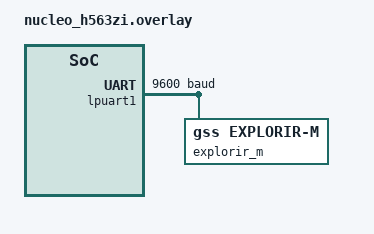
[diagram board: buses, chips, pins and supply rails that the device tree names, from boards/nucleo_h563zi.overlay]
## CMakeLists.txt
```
# SPDX-License-Identifier: Apache-2.0

cmake_minimum_required(VERSION 3.28.0)
find_package(Zephyr REQUIRED HINTS $ENV{ZEPHYR_BASE})
project(co2_polling)

target_sources(app PRIVATE src/main.c)
```

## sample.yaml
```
sample:
  name: CO2 sensor sample
tests:
  sample.sensor.co2:
    harness: sensor
    tags: sensors
    filter: dt_alias_exists("co2")
    depends_on:
      - serial
      - uart_interrupt_driven
```

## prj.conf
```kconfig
CONFIG_STDOUT_CONSOLE=y
CONFIG_LOG=y
CONFIG_SHELL=y
CONFIG_SENSOR_SHELL=y
CONFIG_SERIAL=y
CONFIG_SENSOR=y
CONFIG_SENSOR_LOG_LEVEL_DBG=y
```

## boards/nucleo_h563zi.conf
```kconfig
# SPDX-FileCopyrightText: Copyright The Zephyr Project Contributors
# SPDX-License-Identifier: Apache-2.0

CONFIG_UART_INTERRUPT_DRIVEN=y
```

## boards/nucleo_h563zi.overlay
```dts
/*
 * SPDX-FileCopyrightText: Copyright The Zephyr Project Contributors
 * SPDX-License-Identifier: Apache-2.0
 */

/ {
	aliases {
		co2 = &explorir_m;
	};
};

&lpuart1 {
	current-speed = <9600>;
	status = "okay";

	explorir_m: explorir_m {
		compatible = "gss,explorir-m";
		status = "okay";
	};
};
```

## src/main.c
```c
/*
 * Copyright (c) 2025 Prevas A/S
 *
 * SPDX-License-Identifier: Apache-2.0
 */

#include <zephyr/kernel.h>
#include <zephyr/drivers/sensor.h>
#include <zephyr/logging/log.h>

LOG_MODULE_REGISTER(MAIN);

int main(void)
{
	struct sensor_value value;
	const struct device *const dev = DEVICE_DT_GET(DT_ALIAS(co2));

	if (!device_is_ready(dev)) {
		LOG_ERR("%s is not ready", dev->name);
		return 0;
	}

	while (1) {
		if (sensor_sample_fetch(dev) == 0 &&
		    sensor_channel_get(dev, SENSOR_CHAN_CO2, &value) == 0) {
			LOG_INF("CO2 %d ppm", value.val1);
		}

		k_msleep(1000);
	}

	return 0;
}
```
